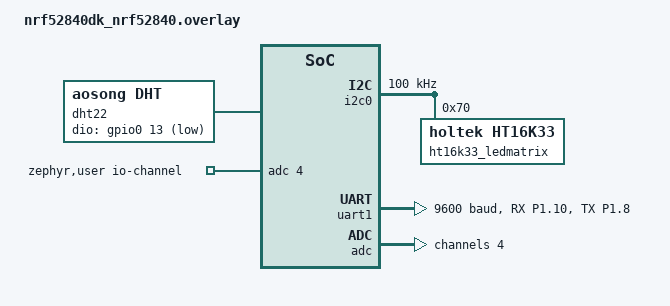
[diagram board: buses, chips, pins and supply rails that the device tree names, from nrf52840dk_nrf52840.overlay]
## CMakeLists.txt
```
cmake_minimum_required(VERSION 3.20.0)
find_package(Zephyr REQUIRED HINTS $ENV{ZEPHYR_BASE})

project(ble_peripheral_example)

target_sources(app PRIVATE main.c src/my_service.c src/buttons.c src/ht16k33_led.c src/dht22_sensor.c)

target_include_directories(app PRIVATE include)
```

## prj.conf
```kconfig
CONFIG_BT=y
CONFIG_BT_L2CAP_TX_BUF_COUNT=5
CONFIG_BT_PERIPHERAL=y
CONFIG_BT_DEVICE_NAME="SmartHome"
CONFIG_BT_DEVICE_APPEARANCE=962

CONFIG_HEAP_MEM_POOL_SIZE=2048

# This example requires more workqueue stack
CONFIG_SYSTEM_WORKQUEUE_STACK_SIZE=2048

# GPIO INT
CONFIG_SENSOR=y
CONFIG_DHT=y
CONFIG_GPIO=y
CONFIG_PRINTK=y
CONFIG_LOG=y

# HT16K33 LED
CONFIG_I2C=y
CONFIG_LED=y
CONFIG_KSCAN=y
CONFIG_KSCAN_INIT_PRIORITY=95
CONFIG_HT16K33_KEYSCAN=y

# Need float format support
CONFIG_NEWLIB_LIBC=y
CONFIG_NEWLIB_LIBC_FLOAT_PRINTF=y
CONFIG_CBPRINTF_FP_SUPPORT=y

# CO2
CONFIG_UART_INTERRUPT_DRIVEN=y

# sound
CONFIG_ADC=y
CONFIG_ADC_ASYNC=y
CONFIG_ADC_NRFX_SAADC=y
```

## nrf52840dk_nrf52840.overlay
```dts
// To get started, press Ctrl+Space (or Option+Esc) to bring up the completion menu and view the available nodes.

// You can also use the buttons in the sidebar to perform actions on nodes.
// Actions currently available include:

// * Enabling / disabling the node
// * Adding the bus to a bus
// * Removing the node
// * Connecting ADC channels

// For more help, browse the DeviceTree documentation at https://docs.zephyrproject.org/latest/guides/dts/index.html
// You can also visit the nRF DeviceTree extension documentation at https://nrfconnect.github.io/vscode-nrf-connect/devicetree/nrfdevicetree.html

/ {
	dht22 {
		compatible = "aosong,dht";
		status = "okay";
		dio-gpios = <&gpio0 13 (GPIO_PULL_UP | GPIO_ACTIVE_LOW)>;
		dht22;
	};
    zephyr,user {
        io-channels = <&adc 4>;
	};
};

&i2c0 {
    clock-frequency = <I2C_BITRATE_STANDARD>;

    ht16k33_ledmatrix: ht16k33@70 {
        compatible = "holtek,ht16k33";
        reg = <0x70>;

        keyscan {
            compatible = "holtek,ht16k33-keyscan";
        };
    };
};


/ {
    aliases {
        // sw0 = &pin7_button0;
        myserial = &uart1;
    };

    // buttons {
    //     pin7_button0: button_0 {
    //         gpios = <&gpio0 7 (GPIO_PULL_UP | GPIO_ACTIVE_LOW)>;
    //     };
    // };
};



// &uart0 {
//     status = "disabled";
// };

arduino_serial: &uart1 {
    status = "okay";
    compatible = "nordic,nrf-uart";
	current-speed = <9600>;
	pinctrl-0 = <&uart1_default>;
	pinctrl-1 = <&uart1_sleep>;
	pinctrl-names = "default", "sleep";
};

&pinctrl {
	uart1_default: uart1_default {
		group1 {
			psels = <NRF_PSEL(UART_RX, 1, 10)>;
			bias-pull-up;
		};
		group2 {
//  			  psels = <NRF_PSEL(UART_TX, 1, 11)>;
               psels = <NRF_PSEL(UART_TX, 1, 8)>;
		};
	};

	uart1_sleep: uart1_sleep {
		group1 {
			psels = <NRF_PSEL(UART_RX, 1, 10)>,
				<NRF_PSEL(UART_TX, 1, 11)>;
			//psels = <NRF_PSEL(UART_RX, 0, 7)>, <NRF_PSEL(UART_TX,0, 6)>;
			low-power-enable;
		};
	};
};

&adc {
	#address-cells = <1>;
	#size-cells = <0>;

	channel@4 {
		reg = <4>;
		zephyr,gain = "ADC_GAIN_1";
		zephyr,reference = "ADC_REF_INTERNAL";
		zephyr,acquisition-time = <ADC_ACQ_TIME_DEFAULT>;
		zephyr,input-positive = <NRF_SAADC_AIN4>; /* P0.28 */
		zephyr,resolution = <10>;
	};
};
```

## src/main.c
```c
#include <zephyr/types.h>
#include <stddef.h>
#include <string.h>
#include <errno.h>
#include <zephyr/sys/printk.h>
#include <zephyr/sys/byteorder.h>
#include <zephyr/kernel.h>
#include <zephyr/drivers/gpio.h>
#include <soc.h>
#include <zephyr/bluetooth/bluetooth.h>
#include <zephyr/bluetooth/hci.h>
#include <zephyr/bluetooth/conn.h>
#include <zephyr/bluetooth/uuid.h>
#include <zephyr/bluetooth/gatt.h>
#include <bluetooth/services/lbs.h>
#include <zephyr/settings/settings.h>
#include <dk_buttons_and_leds.h>

#define DEVICE_NAME             CONFIG_BT_DEVICE_NAME
#define DEVICE_NAME_LEN         (sizeof(DEVICE_NAME) - 1)

#define RUN_STATUS_LED          DK_LED1
#define CON_STATUS_LED          DK_LED2
#define RUN_LED_BLINK_INTERVAL  1000
#define USER_LED                DK_LED3
#define USER_BUTTON             DK_BTN1_MSK

// GPIO info
#define SW0_NODE DT_ALIAS(sw0)
#define SW1_NODE DT_ALIAS(sw1)
#define SW2_NODE DT_ALIAS(sw2)
#define SW3_NODE DT_ALIAS(sw3)

static const struct gpio_dt_spec gpio_sw0 = GPIO_DT_SPEC_GET(SW0_NODE, gpios);
static const struct gpio_dt_spec gpio_sw1 = GPIO_DT_SPEC_GET(SW1_NODE, gpios);
static const struct gpio_dt_spec gpio_sw2 = GPIO_DT_SPEC_GET(SW2_NODE, gpios);
static const struct gpio_dt_spec gpio_sw3 = GPIO_DT_SPEC_GET(SW3_NODE, gpios);

static struct gpio_callback button1_cb_data;
static struct gpio_callback button2_cb_data;
static struct gpio_callback button3_cb_data;
static struct gpio_callback button4_cb_data;

static bool app_button_state;
uint32_t button_state = 0;

static const struct bt_data ad[] = {
    BT_DATA_BYTES(BT_DATA_FLAGS, (BT_LE_AD_GENERAL | BT_LE_AD_NO_BREDR)),
    BT_DATA(BT_DATA_NAME_COMPLETE, DEVICE_NAME, DEVICE_NAME_LEN),
};

static const struct bt_data sd[] = {
    BT_DATA_BYTES(BT_DATA_UUID128_ALL, BT_UUID_LBS_VAL),
};

struct k_work button1_work;
void button1_work_handler(struct k_work *work) {
    printk("BTN1\n");
}
K_WORK_DEFINE(button1_work, button1_work_handler);

struct k_work button2_work;
void button2_work_handler(struct k_work *work) {
    printk("BTN2\n");
}
K_WORK_DEFINE(button2_work, button2_work_handler);

struct k_work button3_work;
void button3_work_handler(struct k_work *work) {
    printk("BTN3\n");
}
K_WORK_DEFINE(button3_work, button3_work_handler);

struct k_work button4_work;
void button4_work_handler(struct k_work *work) {
    printk("BTN4\n");
}
K_WORK_DEFINE(button4_work, button4_work_handler);

// Work queue
struct k_work sensor_work_que;
void sensor_work_handler_cb(struct k_work *sensor_worker) {
    // publish measured sensor values
    printk("Publish sensor values\n");
}
K_WORK_DEFINE(sensor_work_que, sensor_work_handler_cb);

// LED timer
struct k_timer sensor_update_timer;
void sensor_update_timer_expiry_cb(struct k_timer *timer_id) {
    if (k_work_submit(&sensor_work_que) < 0) {
        printk("Error: work not submitted to queue\n");
        return;
    }
}
K_TIMER_DEFINE(sensor_update_timer, sensor_update_timer_expiry_cb, NULL);

static void connected(struct bt_conn *conn, uint8_t err)
{
    if (err) {
        printk("Connection failed (err %u)\n", err);
        return;
    }

    printk("Connected\n");
    dk_set_led_on(CON_STATUS_LED);
}

static void disconnected(struct bt_conn *conn, uint8_t reason)
{
    printk("Disconnected (reason %u)\n", reason);
    dk_set_led_off(CON_STATUS_LED);
}

#ifdef CONFIG_BT_LBS_SECURITY_ENABLED
static void security_changed(struct bt_conn *conn, bt_security_t level, enum bt_security_err err)
{
    char addr[BT_ADDR_LE_STR_LEN];
    bt_addr_le_to_str(bt_conn_get_dst(conn), addr, sizeof(addr));

    if (!err) {
        printk("Security changed: %s level %u\n", addr, level);
    } else {
        printk("Security failed: %s level %u err %d\n", addr, level, err);
    }
}
#endif

BT_CONN_CB_DEFINE(conn_callbacks) = {
    .connected        = connected,
    .disconnected     = disconnected,
#ifdef CONFIG_BT_LBS_SECURITY_ENABLED
    .security_changed = security_changed,
#endif
};

#if defined(CONFIG_BT_LBS_SECURITY_ENABLED)
static void auth_passkey_display(struct bt_conn *conn, unsigned int passkey)
{
    char addr[BT_ADDR_LE_STR_LEN];
    bt_addr_le_to_str(bt_conn_get_dst(conn), addr, sizeof(addr));
    printk("Passkey for %s: %06u\n", addr, passkey);
}

static void auth_cancel(struct bt_conn *conn)
{
    char addr[BT_ADDR_LE_STR_LEN];
    bt_addr_le_to_str(bt_conn_get_dst(conn), addr, sizeof(addr));
    printk("Pairing cancelled: %s\n", addr);
}

static void pairing_complete(struct bt_conn *conn, bool bonded)
{
    char addr[BT_ADDR_LE_STR_LEN];
    bt_addr_le_to_str(bt_conn_get_dst(conn), addr, sizeof(addr));
    printk("Pairing completed: %s, bonded: %d\n", addr, bonded);
}

static void pairing_failed(struct bt_conn *conn, enum bt_security_err reason)
{
    char addr[BT_ADDR_LE_STR_LEN];
    bt_addr_le_to_str(bt_conn_get_dst(conn), addr, sizeof(addr));
    printk("Pairing failed conn: %s, reason %d\n", addr, reason);
}

static struct bt_conn_auth_cb conn_auth_callbacks = {
    .passkey_display = auth_passkey_display,
    .cancel = auth_cancel,
};

static struct bt_conn_auth_info_cb conn_auth_info_callbacks = {
    .pairing_complete = pairing_complete,
    .pairing_failed = pairing_failed
};
#else
static struct bt_conn_auth_cb conn_auth_callbacks;
static struct bt_conn_auth_info_cb conn_auth_info_callbacks;
#endif

static void app_led_cb(bool led_state)
{
    dk_set_led(USER_LED, led_state);
}

static bool app_button_cb(void)
{
    return app_button_state;
}

static struct bt_lbs_cb lbs_callbacs = {
    .led_cb    = app_led_cb,
    .button_cb = app_button_cb,
};

static void button_changed(uint32_t button_state, uint32_t has_changed)
{
    if (has_changed & USER_BUTTON) {
        uint32_t user_button_state = button_state & USER_BUTTON;

        int err = bt_lbs_send_button_state(user_button_state);
        if (err == -EACCES) {
            printk("Notify not enabled\n");
        } else if (err != 0) {
            printk("Send button state error\n");
        }

        app_button_state = user_button_state ? true : false;
    }
}

void button1_isr(const struct device *dev, struct gpio_callback *cb, uint32_t pins) {
    k_work_submit(&button1_work);
}

void button2_isr(const struct device *dev, struct gpio_callback *cb, uint32_t pins) {
    k_work_submit(&button2_work);
}

void button3_isr(const struct device *dev, struct gpio_callback *cb, uint32_t pins) {
    k_work_submit(&button3_work);
}

void button4_isr(const struct device *dev, struct gpio_callback *cb, uint32_t pins) {
    k_work_submit(&button4_work);
}

static int init_button(void)
{
    int err;
    err = dk_buttons_init(button_changed);
    if (err) {
        printk("Cannot init buttons (err: %d)\n", err);
    }
    return err;
}

int int_configure_gpio(struct gpio_dt_spec *sw_list, int sw_list_len) {
    void (*btn_isr_arr[])(const struct device *dev, struct gpio_callback *cb, uint32_t pins) = {
        button1_isr,
        button2_isr,
        button3_isr,
        button4_isr
    };
    struct gpio_callback *button_cb_data_arr[] = {
        &button1_cb_data,
        &button2_cb_data,
        &button3_cb_data,
        &button4_cb_data
    };

    for (int i = 0; i < sw_list_len; i++) {
        int err = gpio_pin_interrupt_configure_dt(&sw_list[i], GPIO_INT_EDGE_TO_ACTIVE);
        if (err != 0) {
            printk("Error %d: failed to configure interrupt on %s pin %d\n", err, sw_list[i].port->name, sw_list[i].pin);
            return err;
        }

        gpio_init_callback(button_cb_data_arr[i], btn_isr_arr[i], BIT(sw_list[i].pin));
        gpio_add_callback(sw_list[i].port, button_cb_data_arr[i]);
    }

    return 0;
}

int dir_configure_gpio(struct gpio_dt_spec *sw_list, int sw_list_len) {
    // set GPIO SW (BTN) as INPUT
    for (int i = 0; i < sw_list_len; i++) {
        if (!gpio_is_ready_dt(&sw_list[i])) {
            printk("Error: sw not rdy\n");
            return 1;
        }

        if ((gpio_pin_configure_dt(&sw_list[i], GPIO_INPUT)) != 0) {
            printk("Error: sw OUTPUT config\n");
            return 1;
        }
    }

    return 0;
}

int main(void)
{
    int blink_status = 0;
    int err;

    printk("Starting Bluetooth Peripheral LBS example\n");

    struct gpio_dt_spec gpio_sw_list[4] = {gpio_sw0, gpio_sw1, gpio_sw2, gpio_sw3};
    int sw_list_len = (sizeof(gpio_sw_list)) / (sizeof(gpio_sw_list[0]));

    err = dir_configure_gpio(gpio_sw_list, sw_list_len);
    if (err != 0) {
        printk("Error: config GPIO\n");
        return 0;
    }

    err = int_configure_gpio(gpio_sw_list, sw_list_len);
    if (err != 0) {
        printk("Error: interrupt config GPIO\n");
        return 0;
    }

    // LDS-related settings
    err = dk_leds_init();
    if (err) {
        printk("LEDs init failed (err %d)\n", err);
        return 0;
    }

    err = init_button();
    if (err) {
        printk("Button init failed (err %d)\n", err);
        return 0;
    }

    // BLUETOOTH
    if (IS_ENABLED(CONFIG_BT_LBS_SECURITY_ENABLED)) {
        err = bt_conn_auth_cb_register(&conn_auth_callbacks);
        if (err) {
            printk("Failed to register authorization callbacks.\n");
            return 0;
        }

        err = bt_conn_auth_info_cb_register(&conn_auth_info_callbacks);
        if (err) {
            printk("Failed to register authorization info callbacks.\n");
            return 0;
        }
    }

    err = bt_enable(NULL);
    if (err) {
        printk("Bluetooth init failed (err %d)\n", err);
        return 0;
    }

    printk("Bluetooth initialized\n");

    if (IS_ENABLED(CONFIG_SETTINGS)) {
        settings_load();
    }

    err = bt_lbs_init(&lbs_callbacs);
    if (err) {
        printk("Failed to init LBS (err:%d)\n", err);
        return 0;
    }

    err = bt_le_adv_start(BT_LE_ADV_CONN, ad, ARRAY_SIZE(ad), sd, ARRAY_SIZE(sd));
    if (err) {
        printk("Advertising failed to start (err %d)\n", err);
        return 0;
    }

    printk("Advertising successfully started\n");

    // Initialize sensor measurement update timer
    // k_timer_start(&sensor_update_timer, K_SECONDS(5), K_SECONDS(5));

    for (;;) {
        dk_set_led(RUN_STATUS_LED, (++blink_status) % 2);
        k_sleep(K_MSEC(RUN_LED_BLINK_INTERVAL));
    }
}
```

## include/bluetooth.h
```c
#ifndef BLUETOOTH_H
#define BLUETOOTH_H

#include <zephyr/kernel.h>

// Function declarations for Bluetooth setup
void setup_bluetooth(void);

#endif // BLUETOOTH_H
```

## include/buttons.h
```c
#ifndef BUTTONS_H
#define BUTTONS_H

#include <zephyr/drivers/gpio.h>
#include <zephyr/kernel.h>

enum co2_lv {
  BAD,
  NORMAL,
  GOOD
};

#define HUMIDITY 0
#define TEMPERATURE 1
#define CO2 2
#define SOUND 3
#define OFF 4
extern int curr_state;

// Function declarations for button and GPIO setup
int configure_gpio_interrupts(struct gpio_dt_spec *sw_list, int sw_list_len);
int configure_gpio_directions(struct gpio_dt_spec *sw_list, int sw_list_len, struct gpio_dt_spec *led_list, int led_list_len);

// GPIO callback data
static struct gpio_callback button1_cb_data;
static struct gpio_callback button2_cb_data;
static struct gpio_callback button3_cb_data;
static struct gpio_callback button4_cb_data;

#endif // BUTTONS_H
```

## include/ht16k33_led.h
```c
#ifndef LED_H
#define LED_H

#include <zephyr/kernel.h>
#include <zephyr/drivers/led.h>
#include <zephyr/drivers/kscan.h>
#include <zephyr/devicetree.h>
#include <stdlib.h>
#include <string.h>

#define MAX_FACE_MATRIX_IDX 1
#define MAX_LED_MATRIX_IDX 9
#define MAX_LED_MATRIX_NUM 127
// Get a node identifier for a node label.
#define LED_NODE DT_NODELABEL(ht16k33_ledmatrix)

static const int number_led_matrix_arr [MAX_LED_MATRIX_IDX+1][MAX_LED_MATRIX_NUM+1]= {
    { // 0
        0,0,0,1,1,1,0,0,
        0,0,1,0,0,0,1,0,
        0,0,1,0,0,0,1,0,
        0,0,1,0,0,0,1,0,
        0,0,1,0,0,0,1,0,
        0,0,1,0,0,0,1,0,
        0,0,1,0,0,0,1,0,
        0,0,0,1,1,1,0,0
    },
    { // 1
        0,0,0,0,1,0,0,0,
        0,0,0,1,1,0,0,0,
        0,0,1,0,1,0,0,0,
        0,0,0,0,1,0,0,0,
        0,0,0,0,1,0,0,0,
        0,0,0,0,1,0,0,0,
        0,0,0,0,1,0,0,0,
        0,0,1,1,1,1,1,0
    },
    { // 2
        0,0,0,0,1,0,0,0,
        0,0,0,1,0,1,0,0,
        0,0,1,0,0,0,1,0,
        0,0,0,0,0,1,0,0,
        0,0,0,0,1,0,0,0,
        0,0,0,1,0,0,0,0,
        0,0,1,0,0,0,0,0,
        0,0,1,1,1,1,1,0
    },
    { // 3
        0,0,1,1,1,1,0,0,
        0,0,0,0,0,0,1,0,
        0,0,0,0,0,0,1,0,
        0,0,1,1,1,1,0,0,
        0,0,0,0,0,0,1,0,
        0,0,0,0,0,0,1,0,
        0,0,0,0,0,0,1,0,
        0,0,1,1,1,1,0,0
    },
    { // 4
        0,0,0,0,0,1,0,0,
        0,0,0,0,1,1,0,0,
        0,0,0,1,0,1,0,0,
        0,0,1,0,0,1,0,0,
        0,1,1,1,1,1,1,0,
        0,0,0,0,0,1,0,0,
        0,0,0,0,0,1,0,0,
        0,0,0,0,0,1,0,0
    },
    { // 5
        0,0,1,1,1,1,1,0,
        0,0,1,0,0,0,0,0,
        0,0,1,0,0,0,0,0,
        0,0,1,1,1,1,0,0,
        0,0,0,0,0,0,1,0,
        0,0,0,0,0,0,1,0,
        0,0,1,0,0,0,1,0,
        0,0,0,1,1,1,0,0
    },
    { // 6
        0,0,0,1,1,1,0,0,
        0,0,1,0,0,0,0,0,
        0,0,1,0,0,0,0,0,
        0,0,1,1,1,1,0,0,
        0,0,1,0,0,0,1,0,
        0,0,1,0,0,0,1,0,
        0,0,1,0,0,0,1,0,
        0,0,0,1,1,1,0,0
    },
    { // 7
        0,0,1,1,1,1,1,0,
        0,0,1,0,0,0,1,0,
        0,0,1,0,0,0,1,0,
        0,0,1,0,0,0,1,0,
        0,0,0,0,0,0,1,0,
        0,0,0,0,0,0,1,0,
        0,0,0,0,0,0,1,0,
        0,0,0,0,0,0,1,0
    },
    { // 8
        0,0,0,1,1,1,0,0,
        0,0,1,0,0,0,1,0,
        0,0,1,0,0,0,1,0,
        0,0,0,1,1,1,0,0,
        0,0,1,0,0,0,1,0,
        0,0,1,0,0,0,1,0,
        0,0,1,0,0,0,1,0,
        0,0,0,1,1,1,0,0
    },
    { // 9
        0,0,0,1,1,1,0,0,
        0,0,1,0,0,0,1,0,
        0,0,1,0,0,0,1,0,
        0,0,1,0,0,0,1,0,
        0,0,0,1,1,1,1,0,
        0,0,0,0,0,0,1,0,
        0,0,0,0,0,0,1,0,
        0,0,0,0,0,0,1,0
    }
};

static const int bad_face_led_matrix_arr[MAX_FACE_MATRIX_IDX+1][MAX_LED_MATRIX_NUM+1] = {
    {
        0,0,0,0,0,0,0,0,
        0,0,0,0,0,0,1,0,
        0,0,0,0,0,0,1,0,
        0,0,0,0,0,0,1,0,
        0,0,0,0,0,0,0,0,
        0,0,0,0,0,0,1,1,
        0,0,0,0,0,1,0,0,
        0,0,0,0,1,0,0,0
    },
    {
        0,0,0,0,0,0,0,0,
        0,1,0,0,0,0,0,0,
        0,1,0,0,0,0,0,0,
        0,1,0,0,0,0,0,0,
        0,0,0,0,0,0,0,0,
        1,1,0,0,0,0,0,0,
        0,0,1,0,0,0,0,0,
        0,0,0,1,0,0,0,0
    }
};

static const int normal_face_led_matrix_arr[MAX_FACE_MATRIX_IDX+1][MAX_LED_MATRIX_NUM+1] = {
    {
        0,0,0,0,0,0,0,0,
        0,0,0,0,0,0,1,0,
        0,0,0,0,0,0,1,0,
        0,0,0,0,0,0,1,0,
        0,0,0,0,0,0,0,0,
        0,0,0,0,0,0,0,0,
        0,0,0,0,1,1,1,1,
        0,0,0,0,0,0,0,0
    },
    {
        0,0,0,0,0,0,0,0,
        0,1,0,0,0,0,0,0,
        0,1,0,0,0,0,0,0,
        0,1,0,0,0,0,0,0,
        0,0,0,0,0,0,0,0,
        0,0,0,0,0,0,0,0,
        1,1,1,1,0,0,0,0,
        0,0,0,0,0,0,0,0
    }
};

static const int good_face_led_matrix_arr[MAX_FACE_MATRIX_IDX+1][MAX_LED_MATRIX_NUM+1] = {
    {
        0,0,0,0,0,0,0,0,
        0,0,0,0,0,0,1,0,
        0,0,0,0,0,0,1,0,
        0,0,0,0,0,0,1,0,
        0,0,0,0,0,0,0,0,
        0,0,0,0,1,0,0,0,
        0,0,0,0,0,1,0,0,
        0,0,0,0,0,0,1,1
    },
    {
        0,0,0,0,0,0,0,0,
        0,1,0,0,0,0,0,0,
        0,1,0,0,0,0,0,0,
        0,1,0,0,0,0,0,0,
        0,0,0,0,0,0,0,0,
        0,0,0,1,0,0,0,0,
        0,0,1,0,0,0,0,0,
        1,1,0,0,0,0,0,0
    }
};

int init_led_ht16k33(void);
void off_led_ht16k33(void);
// given an integer value, display on HT16K33 Led Matrix, range 0~99 (inclusive)
int display_value_ht16k33(int value);
int display_number_matrix(int value);
int display_face_state_matrix(int state);
int **allocate_led_matrix_arr(const int led_matrix_placeholder[][MAX_LED_MATRIX_NUM + 1], int max_idx);
void free_led_matrix_arr(int **ptr, int max_idx);

#endif // LED_H
```

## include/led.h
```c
#ifndef LED_H
#define LED_H

#include <zephyr/kernel.h>

#define MAX_LED_MATRIX_IDX 9
#define MAX_LED_MATRIX_NUM 127
// Get a node identifier for a node label.
#define LED_NODE DT_NODELABEL(ht16k33_ledmatrix)

static const int number_led_matrix_arr [MAX_LED_MATRIX_IDX+1][MAX_LED_MATRIX_NUM+1]= {
    { // 0
        0,0,0,1,1,1,0,0,
        0,0,1,0,0,0,1,0,
        0,0,1,0,0,0,1,0,
        0,0,1,0,0,0,1,0,
        0,0,1,0,0,0,1,0,
        0,0,1,0,0,0,1,0,
        0,0,1,0,0,0,1,0,
        0,0,0,1,1,1,0,0
    },
    { // 1
        0,0,0,0,1,0,0,0,
        0,0,0,1,1,0,0,0,
        0,0,1,0,1,0,0,0,
        0,0,0,0,1,0,0,0,
        0,0,0,0,1,0,0,0,
        0,0,0,0,1,0,0,0,
        0,0,0,0,1,0,0,0,
        0,0,1,1,1,1,1,0
    },
    { // 2
        0,0,0,0,1,0,0,0,
        0,0,0,1,0,1,0,0,
        0,0,1,0,0,0,1,0,
        0,0,0,0,0,1,0,0,
        0,0,0,0,1,0,0,0,
        0,0,0,1,0,0,0,0,
        0,0,1,0,0,0,0,0,
        0,0,1,1,1,1,1,0
    },
    { // 3
        0,0,1,1,1,1,0,0,
        0,0,0,0,0,0,1,0,
        0,0,0,0,0,0,1,0,
        0,0,1,1,1,1,0,0,
        0,0,0,0,0,0,1,0,
        0,0,0,0,0,0,1,0,
        0,0,0,0,0,0,1,0,
        0,0,1,1,1,1,0,0
    },
    { // 4
        0,0,0,0,0,1,0,0,
        0,0,0,0,1,1,0,0,
        0,0,0,1,0,1,0,0,
        0,0,1,0,0,1,0,0,
        0,1,1,1,1,1,1,0,
        0,0,0,0,0,1,0,0,
        0,0,0,0,0,1,0,0,
        0,0,0,0,0,1,0,0
    },
    { // 5
        0,0,1,1,1,1,1,0,
        0,0,1,0,0,0,0,0,
        0,0,1,0,0,0,0,0,
        0,0,1,1,1,1,0,0,
        0,0,0,0,0,0,1,0,
        0,0,0,0,0,0,1,0,
        0,0,1,0,0,0,1,0,
        0,0,0,1,1,1,0,0
    },
    { // 6
        0,0,0,1,1,1,0,0,
        0,0,1,0,0,0,0,0,
        0,0,1,0,0,0,0,0,
        0,0,1,1,1,1,0,0,
        0,0,1,0,0,0,1,0,
        0,0,1,0,0,0,1,0,
        0,0,1,0,0,0,1,0,
        0,0,0,1,1,1,0,0
    },
    { // 7
        0,0,1,1,1,1,1,0,
        0,0,1,0,0,0,1,0,
        0,0,1,0,0,0,1,0,
        0,0,1,0,0,0,1,0,
        0,0,0,0,0,0,1,0,
        0,0,0,0,0,0,1,0,
        0,0,0,0,0,0,1,0,
        0,0,0,0,0,0,1,0
    },
    { // 8
        0,0,0,1,1,1,0,0,
        0,0,1,0,0,0,1,0,
        0,0,1,0,0,0,1,0,
        0,0,0,1,1,1,0,0,
        0,0,1,0,0,0,1,0,
        0,0,1,0,0,0,1,0,
        0,0,1,0,0,0,1,0,
        0,0,0,1,1,1,0,0
    },
    { // 9
        0,0,0,1,1,1,0,0,
        0,0,1,0,0,0,1,0,
        0,0,1,0,0,0,1,0,
        0,0,1,0,0,0,1,0,
        0,0,0,1,1,1,1,0,
        0,0,0,0,0,0,1,0,
        0,0,0,0,0,0,1,0,
        0,0,0,0,0,0,1,0
} };

int init_led_ht16k33(void);
int display_value_ht16k33(int value);

#endif // LED_H
```

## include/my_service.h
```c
#include <zephyr/types.h>
#include <stddef.h>
#include <string.h>
#include <errno.h>
// #include <zephyr.h>
#include <soc.h>

#include <zephyr/bluetooth/bluetooth.h>
#include <zephyr/bluetooth/hci.h>
#include <zephyr/bluetooth/conn.h>
#include <zephyr/bluetooth/uuid.h>
#include <zephyr/bluetooth/gatt.h>

#define MY_SERVICE_UUID 0xd4, 0x86, 0x48, 0x24, 0x54, 0xB3, 0x43, 0xA1, \
			            0xBC, 0x20, 0x97, 0x8F, 0xC3, 0x76, 0xC2, 0x75

#define RX_CHARACTERISTIC_UUID  0xA6, 0xE8, 0xC4, 0x60, 0x7E, 0xAA, 0x41, 0x6B, \
			                    0x95, 0xD4, 0x9D, 0xCC, 0x08, 0x4F, 0xCF, 0x6A

#define TX_CHARACTERISTIC_UUID  0xED, 0xAA, 0x20, 0x11, 0x92, 0xE7, 0x43, 0x5A, \
			                    0xAA, 0xE9, 0x94, 0x43, 0x35, 0x6A, 0xD4, 0xD3

/** @brief Callback type for when new data is received. */
typedef void (*data_rx_cb_t)(uint8_t *data, uint8_t length);

// /** @brief Callback struct used by the my_service Service. */
// struct my_service_cb
// {
// 	/** Data received callback. */
// 	data_rx_cb_t    data_rx_cb;
// };

void my_service_init(void);

void my_service_send(struct bt_conn *conn, const int *data, uint16_t len);
```

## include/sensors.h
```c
#ifndef SENSORS_H
#define SENSORS_H

#include <zephyr/kernel.h>
#include <zephyr/device.h>
#include <zephyr/drivers/sensor.h>

int init_dht(void);
// return fetched temperature data from DHT22 sensor
int get_temperature(void);
// return fetched humidity data from DHT22 sensor
int get_humidity(void);

#endif // SENSORS_H
```

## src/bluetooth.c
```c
#include <zephyr/bluetooth/bluetooth.h>
#include <zephyr/bluetooth/hci.h>
#include <zephyr/bluetooth/conn.h>
#include <zephyr/bluetooth/uuid.h>
#include <zephyr/bluetooth/gatt.h>
#include <bluetooth/services/lbs.h>
#include <zephyr/settings/settings.h>
#include <dk_buttons_and_leds.h>
#include "bluetooth.h"

static const struct bt_data ad[] = {
    BT_DATA_BYTES(BT_DATA_FLAGS, (BT_LE_AD_GENERAL | BT_LE_AD_NO_BREDR)),
    BT_DATA(BT_DATA_NAME_COMPLETE, CONFIG_BT_DEVICE_NAME, sizeof(CONFIG_BT_DEVICE_NAME) - 1),
};

static const struct bt_data sd[] = {
    BT_DATA_BYTES(BT_DATA_UUID128_ALL, BT_UUID_LBS_VAL),
};

static bool app_button_state;

static void connected(struct bt_conn *conn, uint8_t err) {
    if (err) {
        printk("Connection failed (err %u)\n", err);
        return;
    }
    printk("Connected\n");
    dk_set_led_on(DK_LED2);
}

static void disconnected(struct bt_conn *conn, uint8_t reason) {
    printk("Disconnected (reason %u)\n", reason);
    dk_set_led_off(DK_LED2);
}

BT_CONN_CB_DEFINE(conn_callbacks) = {
	.connected        = connected,
	.disconnected     = disconnected,
};

static void app_led_cb(bool led_state) {
    dk_set_led(DK_LED3, led_state);
}

static bool app_button_cb(void) {
    return app_button_state;
}

static struct bt_lbs_cb lbs_callbacs = {
    .led_cb = app_led_cb,
    .button_cb = app_button_cb,
};

void setup_bluetooth(void) {
    int err;

    printk("Starting Bluetooth Peripheral LBS example\n");

    if (IS_ENABLED(CONFIG_BT_LBS_SECURITY_ENABLED)) {
        static struct bt_conn_auth_cb conn_auth_callbacks = {
            .passkey_display = NULL,
            .cancel = NULL,
        };
        static struct bt_conn_auth_info_cb conn_auth_info_callbacks = {
            .pairing_complete = NULL,
            .pairing_failed = NULL,
        };

        err = bt_conn_auth_cb_register(&conn_auth_callbacks);
        if (err) {
            printk("Failed to register authorization callbacks.\n");
            return;
        }

        err = bt_conn_auth_info_cb_register(&conn_auth_info_callbacks);
        if (err) {
            printk("Failed to register authorization info callbacks.\n");
            return;
        }
    }

    err = bt_enable(NULL);
    if (err) {
        printk("Bluetooth init failed (err %d)\n", err);
        return;
    }

    printk("Bluetooth initialized\n");

    if (IS_ENABLED(CONFIG_SETTINGS)) {
        settings_load();
    }

    err = bt_lbs_init(&lbs_callbacs);
    if (err) {
        printk("Failed to init LBS (err:%d)\n", err);
        return;
    }

    err = bt_le_adv_start(BT_LE_ADV_CONN, ad, ARRAY_SIZE(ad), sd, ARRAY_SIZE(sd));
    if (err) {
        printk("Advertising failed to start (err %d)\n", err);
        return;
    }

    printk("Advertising successfully started\n");
}
```

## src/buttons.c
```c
#include <zephyr/drivers/gpio.h>
#include "buttons.h"
#include "ht16k33_led.h"
#include "my_service.h"
#include "dht22_sensor.h"
#include "main.h"

extern struct bt_conn *my_connection;
int curr_state = HUMIDITY;

///////////////// BTN Work Queue Callback Handlers /////////////////
struct k_work button1_work;
void button1_work_handler(struct k_work *work) {
    curr_state = HUMIDITY;
}
K_WORK_DEFINE(button1_work, button1_work_handler);

struct k_work button2_work;
void button2_work_handler(struct k_work *work) {
    curr_state = TEMPERATURE;
}
K_WORK_DEFINE(button2_work, button2_work_handler);

void button3_work_handler(struct k_work *work) {
    curr_state = CO2;
}

K_WORK_DEFINE(button3_work, button3_work_handler);

struct k_work button4_work;
void button4_work_handler(struct k_work *work) {
    curr_state = SOUND;
}
K_WORK_DEFINE(button4_work, button4_work_handler);

///////////////// Sensor Timer Work Queue Callback Handler /////////////////
struct k_work sensor_work_que;
void sensor_work_handler_cb(struct k_work *sensor_worker) {
	// publish measured sensor values
    int humidity = get_humidity();
    if (humidity < 0) {
        return;
    }
    my_service_send(my_connection, &humidity, (uint16_t)sizeof(humidity));
}
K_WORK_DEFINE(sensor_work_que, sensor_work_handler_cb);

// sensor timer
struct k_timer sensor_update_timer;
void sensor_update_timer_expiry_cb(struct k_timer *timer_id) {
    if (k_work_submit(&sensor_work_que) < 0) {
        printk("Error: work not submitted to queue\n");
        return;
    }
}
K_TIMER_DEFINE(sensor_update_timer, sensor_update_timer_expiry_cb, NULL);
// stop sensor timer
void off_sensor_timer(void) {
    k_timer_stop(&sensor_update_timer);
}
void restart_sensor_timer(void) {
    k_timer_start(&sensor_update_timer, K_SECONDS(5), K_SECONDS(5));
}

///////////////// BTN INT Service Routine /////////////////
void button1_isr(const struct device *dev, struct gpio_callback *cb, uint32_t pins) {
    k_work_submit(&button1_work);
}

void button2_isr(const struct device *dev, struct gpio_callback *cb, uint32_t pins) {
    k_work_submit(&button2_work);
}

void button3_isr(const struct device *dev, struct gpio_callback *cb, uint32_t pins) {
    k_work_submit(&button3_work);
}


void button4_isr(const struct device *dev, struct gpio_callback *cb, uint32_t pins) {
    k_work_submit(&button4_work);
}

// check ready and configure as input
int configure_gpio_directions(struct gpio_dt_spec *sw_list, int sw_list_len, struct gpio_dt_spec *led_list, int led_list_len) {
    for (int i = 0; i < led_list_len; i++) {
        if (!gpio_is_ready_dt(&led_list[i])) {
            printk("Error: led not rdy\n");
            return 1;
        }

        if ((gpio_pin_configure_dt(&led_list[i], GPIO_OUTPUT_ACTIVE)) != 0) {
            printk("Error: led OUTPUT config\n");
            return 1;
        }

        gpio_pin_set_dt(&led_list[i], 0);
    }

    for (int i = 0; i < sw_list_len; i++) {
        if (!gpio_is_ready_dt(&sw_list[i])) {
            printk("Error: sw not rdy\n");
            return 1;
        }

        if ((gpio_pin_configure_dt(&sw_list[i], GPIO_INPUT)) != 0) {
            printk("Error: sw OUTPUT config\n");
            return 1;
        }
    }
    return 0;
}

// register/map routines and handlers for BTNs
int configure_gpio_interrupts(struct gpio_dt_spec *sw_list, int sw_list_len) {
    void (*btn_isr_arr[])(const struct device *dev, struct gpio_callback *cb, uint32_t pins) = {
        button1_isr,
        button2_isr,
        button3_isr,
        button4_isr
    };

    struct gpio_callback *button_cb_data_arr[] = {
        &button1_cb_data,
        &button2_cb_data,
        &button3_cb_data,
        &button4_cb_data
    };

    for (int i = 0; i < sw_list_len; i++) {
        int err = gpio_pin_interrupt_configure_dt(&sw_list[i], GPIO_INT_EDGE_TO_ACTIVE);
        if (err != 0) {
            printk("Error %d: failed to configure interrupt on %s pin %d\n", err, sw_list[i].port->name, sw_list[i].pin);
            return err;
        }

        gpio_init_callback(button_cb_data_arr[i], btn_isr_arr[i], BIT(sw_list[i].pin));
        gpio_add_callback(sw_list[i].port, button_cb_data_arr[i]);
    }
    return 0;
}
```

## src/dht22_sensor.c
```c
#include "dht22_sensor.h"

const struct device *const dht22 = DEVICE_DT_GET_ONE(aosong_dht);

int init_dht(void) {
    if (!device_is_ready(dht22)) {
		printk("Device %s is not ready\n", dht22->name);
		return 1;
	}

    return 0;
}

int get_temperature(void) {
    int rc = sensor_sample_fetch(dht22);

    if (rc != 0) {
        // printk("Sensor fetch failed: %d\n", rc);
        return -1;
    }

    struct sensor_value temperature;

    rc = sensor_channel_get(dht22, SENSOR_CHAN_AMBIENT_TEMP, &temperature);
    if (rc != 0) {
        printk("Sensor value get failed: %d\n", rc);
        return -1;
    } else {
        printk("Temperature: %d\n", temperature.val1);
    }

    return temperature.val1;
}

int get_humidity(void) {
    int rc = sensor_sample_fetch(dht22);

    if (rc != 0) {
        // printk("Sensor fetch failed: %d\n", rc);
        return -1;
    }

    struct sensor_value humidity;

    rc = sensor_channel_get(dht22, SENSOR_CHAN_HUMIDITY, &humidity);
    if (rc != 0) {
        printk("Sensor value get failed: %d\n", rc);
        return -1;
    } else {
        printk("Humidity: %d\n", humidity.val1);
    }

    return humidity.val1;
}
```

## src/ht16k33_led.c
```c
#include "ht16k33_led.h"
#include "buttons.h"
#include <stdlib.h>
#include <string.h>

#define STACK_SIZE 1024
#define PRIORITY 5

const struct device *ht16k33_led;
int **led_matrix;

// Declare thread stacks
K_THREAD_STACK_DEFINE(tens_stack, STACK_SIZE);
K_THREAD_STACK_DEFINE(units_stack, STACK_SIZE);

// Declare thread data structures
struct k_thread tens_thread;
struct k_thread units_thread;

struct display_params {
    int value;
    int start_idx;
};

int init_led_ht16k33(void) {
    // Get a device reference from a devicetree node identifier.
	ht16k33_led = DEVICE_DT_GET(LED_NODE);

	if (!device_is_ready(ht16k33_led)) {
		printk("Error: LED not rdy\n");
		return -1;
	}

    return 0;
}

void off_led_ht16k33(void) {
    int num_arr_idx = 0;
    for (int i = 0; i < MAX_LED_MATRIX_NUM; i++) {
        led_off(ht16k33_led, i);
    }
}

void display_digit_thread(void *param, void *unused1, void *unused2) {
    struct display_params *params = (struct display_params *)param;
    int value = params->value;
    int start_idx = params->start_idx;
    int num_arr_idx = 0;

    for (int i = 0; i < MAX_LED_MATRIX_NUM; i += 16) {
        for (int j = (i + start_idx); j < ((i + start_idx) + 8); j++) {
            if (led_matrix[value][num_arr_idx] == 1) {
                if (led_on(ht16k33_led, j) != 0) {
                    return -1;
                }
            } else {
                if (led_off(ht16k33_led, j) != 0) {
                    return -1;
                }
            }
            num_arr_idx++;
        }
    }
}

int display_value_ht16k33(int value) {
    if (value < 0 || value > 999) {
        printk("Error: Invalid value\n");
        return -1;
    }
    if (value > 99) {
        value = value / 10;
    }

    int tens = value / 10;
    int units = value % 10;

    struct display_params tens_params = { .value = tens, .start_idx = 0 };
    struct display_params units_params = { .value = units, .start_idx = 8 };

    // Create threads for tens and units digits
    k_thread_create(&tens_thread, tens_stack, STACK_SIZE,
                    display_digit_thread, &tens_params, NULL, NULL,
                    PRIORITY, 0, K_NO_WAIT);

    k_thread_create(&units_thread, units_stack, STACK_SIZE,
                    display_digit_thread, &units_params, NULL, NULL,
                    PRIORITY, 0, K_NO_WAIT);

    // Wait for threads to complete
    k_thread_join(&tens_thread, K_FOREVER);
    k_thread_join(&units_thread, K_FOREVER);

    return 0;
}

int display_number_matrix(int value) {
    int err = 0;

    led_matrix = allocate_led_matrix_arr(number_led_matrix_arr, MAX_LED_MATRIX_IDX);
    err = display_value_ht16k33(value);
    free_led_matrix_arr(led_matrix, MAX_LED_MATRIX_IDX);

    if (err != 0) {
        return -1;
    }
    return 0;
}

int display_face_state_matrix(int state) {
    int err = 0;

    switch(state) {
        case BAD:
            led_matrix = allocate_led_matrix_arr(bad_face_led_matrix_arr, MAX_FACE_MATRIX_IDX);
            break;
        case NORMAL:
            led_matrix = allocate_led_matrix_arr(normal_face_led_matrix_arr, MAX_FACE_MATRIX_IDX);
            break;
        case GOOD:
            led_matrix = allocate_led_matrix_arr(good_face_led_matrix_arr, MAX_FACE_MATRIX_IDX);
            break;
        default:
            led_matrix = allocate_led_matrix_arr(normal_face_led_matrix_arr, MAX_FACE_MATRIX_IDX);
    }

    err = display_value_ht16k33(1);
    free_led_matrix_arr(led_matrix, MAX_FACE_MATRIX_IDX);

    if (err != 0) {
        return -1;
    }
    return 0;
}

// Function to allocate and copy face_led_matrix_arr to int **ptr
int **allocate_led_matrix_arr(const int led_matrix_placeholder[][MAX_LED_MATRIX_NUM + 1], int max_idx) {
    int **ptr = (int **)malloc((max_idx + 1) * sizeof(int *));
    if (ptr == NULL) {
        printk("Error: Memory allocation failed\n");
        return NULL;
    }

    for (int i = 0; i <= max_idx; i++) {
        ptr[i] = (int *)malloc((MAX_LED_MATRIX_NUM + 1) * sizeof(int));
        if (ptr[i] == NULL) {
            printk("Error: Memory allocation failed\n");
            // Free previously allocated memory
            for (int j = 0; j < i; j++) {
                free(ptr[j]);
            }
            free(ptr);
            return NULL;
        }
        memcpy(ptr[i], led_matrix_placeholder[i], (MAX_LED_MATRIX_NUM + 1) * sizeof(int));
    }

    return ptr;
}

// Function to free the allocated memory for int **ptr
void free_led_matrix_arr(int **ptr, int max_idx) {
    if (ptr == NULL) {
        return;
    }

    for (int i = 0; i <= max_idx; i++) {
        free(ptr[i]);
    }
    free(ptr);
}
```

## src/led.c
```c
#include <zephyr/drivers/led.h>
#include <zephyr/drivers/kscan.h>
#include <zephyr/devicetree.h>
#include "led.h"

const struct device *ht16k33_led;

int init_led_ht16k33(void) {
    // Get a device reference from a devicetree node identifier.
	ht16k33_led = DEVICE_DT_GET(LED_NODE);

	if (!device_is_ready(ht16k33_led)) {
		printk("Error: LED not rdy\n");
		return -1;
	}

    return 0;
}

int display_value_ht16k33(int value) {
    if (value < 0 || value > 99) {
        printk("Error: Invalid value\n");
        return -1;
    }

    if (!device_is_ready(ht16k33_led)) {
        printk("Error: LED not ready\n");
        return -1;
    }

    int tens = value / 10;
    int units = value % 10;
    int num_arr_idx = 0;

    // Display tens digit
    for (int i = 0; i < MAX_LED_MATRIX_NUM; i += 16) {
        for (int j = i; j < (i + 8); j++) {
            if (number_led_matrix_arr[tens][num_arr_idx] == 1) {
                if (led_on(ht16k33_led, j) != 0) {
                    return -1;
                }
            } else {
                if (led_off(ht16k33_led, j) != 0) {
                    return -1;
                }
            }
            num_arr_idx++;
        }
    }

    num_arr_idx = 0;

    // Display units digit
    for (int i = 0; i < MAX_LED_MATRIX_NUM; i += 16) {
        for (int j = (i + 8); j < (i + 16); j++) {
            if (number_led_matrix_arr[units][num_arr_idx] == 1) {
                if (led_on(ht16k33_led, j) != 0) {
                    return -1;
                }
            } else {
                if (led_off(ht16k33_led, j) != 0) {
                    return -1;
                }
            }
            num_arr_idx++;
        }
    }

    return 0;
}
```

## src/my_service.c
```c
#include <zephyr/types.h>
#include <stddef.h>
#include <string.h>
#include <errno.h>
#include <zephyr/sys/printk.h>
#include <zephyr/sys/byteorder.h>
// #include <zephyr.h>
#include <soc.h>

#include <zephyr/bluetooth/bluetooth.h>
#include <zephyr/bluetooth/hci.h>
#include <zephyr/bluetooth/conn.h>
#include <zephyr/bluetooth/uuid.h>
#include <zephyr/bluetooth/addr.h>
#include <zephyr/bluetooth/gatt.h>

#include "my_service.h"
#include "ht16k33_led.h"
#include "buttons.h"

#define BT_UUID_MY_SERVICE      BT_UUID_DECLARE_128(MY_SERVICE_UUID)
#define BT_UUID_MY_SERVICE_RX   BT_UUID_DECLARE_128(RX_CHARACTERISTIC_UUID)
#define BT_UUID_MY_SERVICE_TX   BT_UUID_DECLARE_128(TX_CHARACTERISTIC_UUID)

#define MAX_TRANSMIT_SIZE 240

uint8_t data_rx[MAX_TRANSMIT_SIZE];
uint8_t data_tx[MAX_TRANSMIT_SIZE];

void my_service_init(void)
{
    memset(&data_rx, 0, MAX_TRANSMIT_SIZE);
    memset(&data_tx, 0, MAX_TRANSMIT_SIZE);
}

/* This function is called whenever the RX Characteristic has been written to by a Client */
static ssize_t on_receive(struct bt_conn *conn,
			  const struct bt_gatt_attr *attr,
			  const void *buf,
			  uint16_t len,
			  uint16_t offset,
			  uint8_t flags)
{
    const uint8_t * buffer = buf;

	printk("Received data, handle %d, conn %p, data: 0x", attr->handle, conn);
    for(uint8_t i = 0; i < len; i++){
        printk("%02X", buffer[i]);
    }
    printk("\n");

    if (buffer[0] == 0) {
        // enter low-energy mode
        curr_state = OFF;
    } else {
        restart_sensor_timer();
    }
    
	return len;
}

/* This function is called whenever a Notification has been sent by the TX Characteristic */
static void on_sent(struct bt_conn *conn, void *user_data)
{
	ARG_UNUSED(user_data);

    const bt_addr_le_t * addr = bt_conn_get_dst(conn);

	printk("Data sent to Address 0x %02X %02X %02X %02X %02X %02X \n", addr->a.val[0]
                                                                    , addr->a.val[1]
                                                                    , addr->a.val[2]
                                                                    , addr->a.val[3]
                                                                    , addr->a.val[4]
                                                                    , addr->a.val[5]);
}

/* This function is called whenever the CCCD register has been changed by the client*/
void on_cccd_changed(const struct bt_gatt_attr *attr, uint16_t value)
{
    ARG_UNUSED(attr);
    switch(value)
    {
        case BT_GATT_CCC_NOTIFY:
            // Start sending stuff!
            break;

        case BT_GATT_CCC_INDICATE:
            // Start sending stuff via indications
            break;

        case 0:
            // Stop sending stuff
            break;

        default:
            printk("Error, CCCD has been set to an invalid value");
    }
}


/* LED Button Service Declaration and Registration */
BT_GATT_SERVICE_DEFINE(my_service,
BT_GATT_PRIMARY_SERVICE(BT_UUID_MY_SERVICE),
BT_GATT_CHARACTERISTIC(BT_UUID_MY_SERVICE_RX,
			       BT_GATT_CHRC_WRITE | BT_GATT_CHRC_WRITE_WITHOUT_RESP,
			       BT_GATT_PERM_READ | BT_GATT_PERM_WRITE,
                   NULL, on_receive, NULL),
BT_GATT_CHARACTERISTIC(BT_UUID_MY_SERVICE_TX,
			       BT_GATT_CHRC_NOTIFY,
			       BT_GATT_PERM_READ,
                   NULL, NULL, NULL),
BT_GATT_CCC(on_cccd_changed,
        BT_GATT_PERM_READ | BT_GATT_PERM_WRITE),
);

/* This function sends a notification to a Client with the provided data,
given that the Client Characteristic Control Descripter has been set to Notify (0x1).
It also calls the on_sent() callback if successful*/
void my_service_send(struct bt_conn *conn, const int *data, uint16_t len)
{
    /*
    The attribute for the TX characteristic is used with bt_gatt_is_subscribed
    to check whether notification has been enabled by the peer or not.
    Attribute table: 0 = Service, 1 = Primary service, 2 = RX, 3 = TX, 4 = CCC.
    */
    const struct bt_gatt_attr *attr = &my_service.attrs[3];

    struct bt_gatt_notify_params params =
    {
        .uuid   = BT_UUID_MY_SERVICE_TX,
        .attr   = attr,
        .data   = data,
        .len    = len,
        .func   = on_sent
    };

    // Check whether notifications are enabled or not
    if(bt_gatt_is_subscribed(conn, attr, BT_GATT_CCC_NOTIFY))
    {
        // Send the notification
	    if(bt_gatt_notify_cb(conn, &params))
        {
            printk("Error, unable to send notification\n");
        }
    }
    else
    {
        printk("Warning, notification not enabled on the selected attribute\n");
    }
}
```
